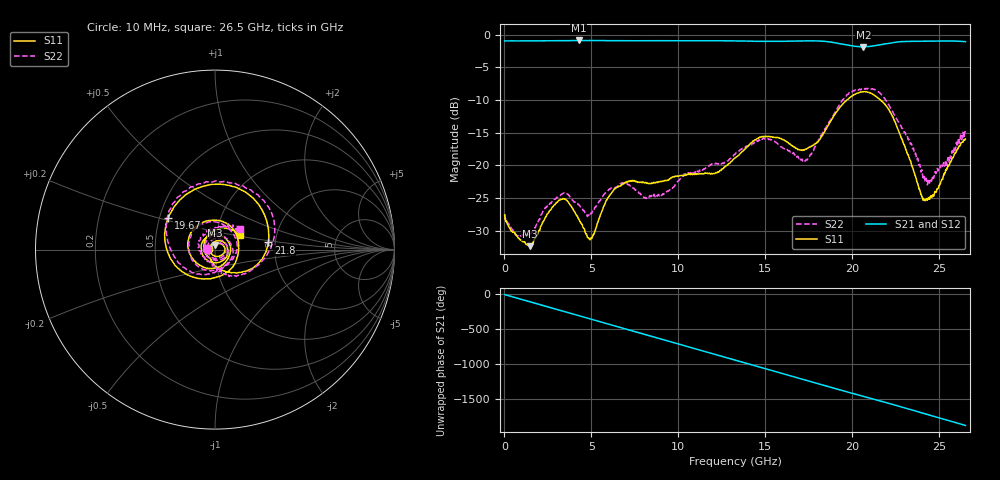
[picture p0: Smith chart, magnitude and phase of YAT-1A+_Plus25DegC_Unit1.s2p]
!Keysight Technologies,N5242A,MY48320679,A.10.49.08
!Date: Tuesday, April 23, 2019 10:55:22
!Correction: S11(Full 2 Port(1,2))
!S21(Full 2 Port(1,2))
!S12(Full 2 Port(1,2))
!S22(Full 2 Port(1,2))
!S2P File: Measurements: S11, S21, S12, S22:
# Hz S  dB  R 50
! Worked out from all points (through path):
!   2650 points, 10 MHz to 26.5 GHz, reference 50 ohm
!   highest |S21| = -0.89 dB at 4.28 GHz (marker M1); lowest = -1.9 dB at 20.64 GHz (marker M2)
!   group delay of S21, straight-line fit = 196 ps
!   lowest |S11| = -32.4 dB at 1.46 GHz (marker M3), VSWR 1.05, Z = 50 + j2.41 ohm
!   |S11| at or under -10 dB: start of sweep to 19.68 GHz; 21.62 GHz to end of sweep
!   |S22| runs from -31.0 to -8.2 dB; largest |S21 - S12| = 0.0053
!   S11 on the Smith chart (normalised r, x): 10 MHz: 0.92, +0.00; 19.67 GHz: 0.56, +0.22; 21.8 GHz: 1.84, +0.16; 26.5 GHz: 1.30, +0.22
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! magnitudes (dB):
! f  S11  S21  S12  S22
! 10 MHz  -27.6  -1.0  -1.0  -27.6
! 740 MHz  -30.9  -1.0  -1.0  -30.8
! 1.46 GHz  -32.4  -1.0  -1.0  -30.7
! 3.22 GHz  -25.2  -0.9  -0.9  -24.6
! 4.28 GHz  -28.2  -0.9  -0.9  -26.0
! 4.43 GHz  -29.0  -0.9  -0.9  -26.5
! 4.95 GHz  -31.2  -0.9  -0.9  -27.4
! 6.38 GHz  -23.5  -0.9  -0.9  -23.4
! 8.84 GHz  -22.5  -0.9  -0.9  -24.5
! 12.1 GHz  -21.2  -0.9  -0.9  -19.8
! 13.26 GHz  -18.9  -1.0  -1.0  -18.3
! 14.89 GHz  -15.6  -1.0  -1.0  -15.8
! 17.17 GHz  -17.6  -1.0  -1.0  -19.4
! 17.67 GHz  -17.0  -1.0  -1.0  -18.1
! 19.67 GHz  -10.0  -1.6  -1.6  -9.3
! 20.64 GHz  -8.7  -1.9  -1.9  -8.3
! 21.8 GHz  -10.5  -1.5  -1.5  -9.6
! 22.09 GHz  -11.4  -1.3  -1.3  -10.7
! 23.39 GHz  -19.7  -1.0  -1.0  -16.6
! 24.18 GHz  -25.4  -1.0  -1.0  -22.4
! 24.77 GHz  -24.1  -1.0  -1.0  -21.1
! 26.5 GHz  -16.0  -1.1  -1.1  -15.0
